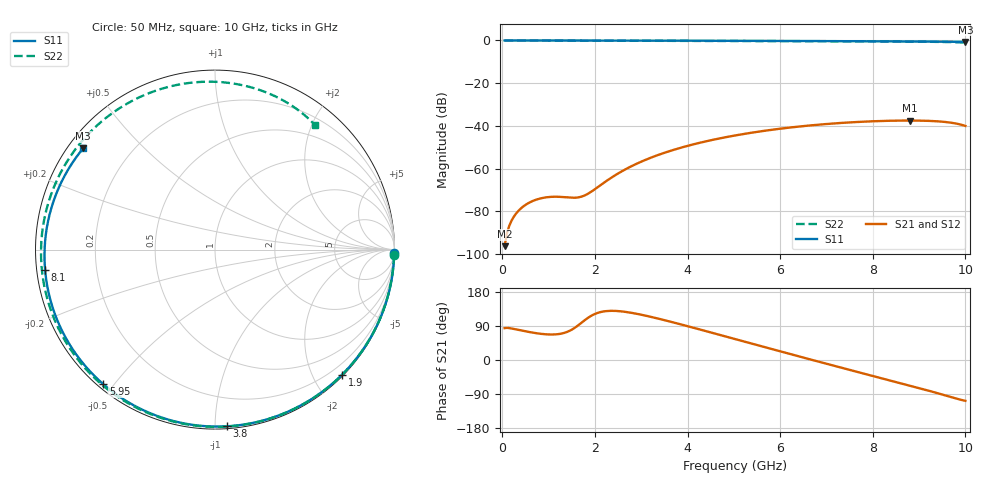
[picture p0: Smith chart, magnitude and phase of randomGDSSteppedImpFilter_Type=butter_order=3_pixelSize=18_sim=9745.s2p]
! freq	dB(S11)	phase(S11)	dB(S12)	phase(S12)
!  dB(S21)	phase(S21)	dB(S22)	phase(S22)
!S-par simulation data
#  GHz  S  DB  R 50
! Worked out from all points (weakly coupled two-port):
!   200 points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, 50 MHz to 10 GHz, reference 50 ohm
!   highest |S21| = -37.52 dB at 8.8 GHz (marker M1); lowest = -96.4 dB at 50 MHz (marker M2)
!   lowest |S11| = -0.7 dB at 10 GHz (marker M3), VSWR 26.13, Z = 2.13 + j17 ohm
!   |S11| at or under -10 dB: nowhere
!   |S22| runs from -1.0 to 0.0 dB; largest |S21 - S12| = 0
!   S11 on the Smith chart (normalised r, x): 50 MHz: 7, -97; 1.9 GHz: 0.02, -2.44; 3.8 GHz: 0.01, -1.07; 5.95 GHz: 0.02, -0.47; 8.1 GHz: 0.02, -0.06; 10 GHz: 0.04, +0.34
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0.05  -0.01 -1.2  -96.36 84.0  -96.36 84.0  -0.02 -1.8
0.35  -0.02 -8.4  -79.77 79.5  -79.77 79.5  -0.02 -12.4
0.6  -0.02 -14.3  -75.78 73.5  -75.78 73.5  -0.03 -21.2
0.9  -0.03 -21.4  -73.65 68.2  -73.65 68.2  -0.04 -31.6
1.15  -0.03 -27.3  -73.20 67.6  -73.20 67.6  -0.05 -40.1
1.55  -0.05 -36.6  -73.69 83.7  -73.69 83.7  -0.07 -53.5
1.75  -0.05 -41.2  -72.86 102.1  -72.86 102.1  -0.07 -60.1
1.9  -0.06 -44.6  -71.15 115.1  -71.15 115.1  -0.08 -64.9
2.65  -0.08 -61.4  -60.47 127.1  -60.47 127.1  -0.11 -88.2
3.4  -0.10 -77.7  -53.38 108.2  -53.38 108.2  -0.13 -110.1
3.8  -0.12 -86.1  -50.60 95.8  -50.60 95.8  -0.15 -121.3
4.45  -0.14 -99.6  -47.01 74.5  -47.01 74.5  -0.18 -138.9
5.05  -0.17 -111.7  -44.42 54.5  -44.42 54.5  -0.21 -154.7
5.95  -0.22 -129.6  -41.48 24.6  -41.48 24.6  -0.27 -178.4
6.7  -0.28 -144.5  -39.71 -0.1  -39.71 -0.1  -0.32 161.4
7.4  -0.34 -158.7  -38.53 -22.9  -38.53 -22.9  -0.38 141.7
8.1  -0.41 -173.3  -37.79 -45.3  -37.79 -45.3  -0.45 120.7
8.35  -0.44 -178.6  -37.63 -53.2  -37.63 -53.2  -0.48 112.8
8.8  -0.50 171.4  -37.52 -67.6  -37.52 -67.6  -0.54 97.9
9.45  -0.59 156.2  -37.97 -89.3  -37.97 -89.3  -0.69 74.3
9.75  -0.63 148.8  -38.73 -99.9  -38.73 -99.9  -0.82 62.2
10  -0.67 142.5  -40.04 -107.7  -40.04 -107.7  -1.02 51.1
